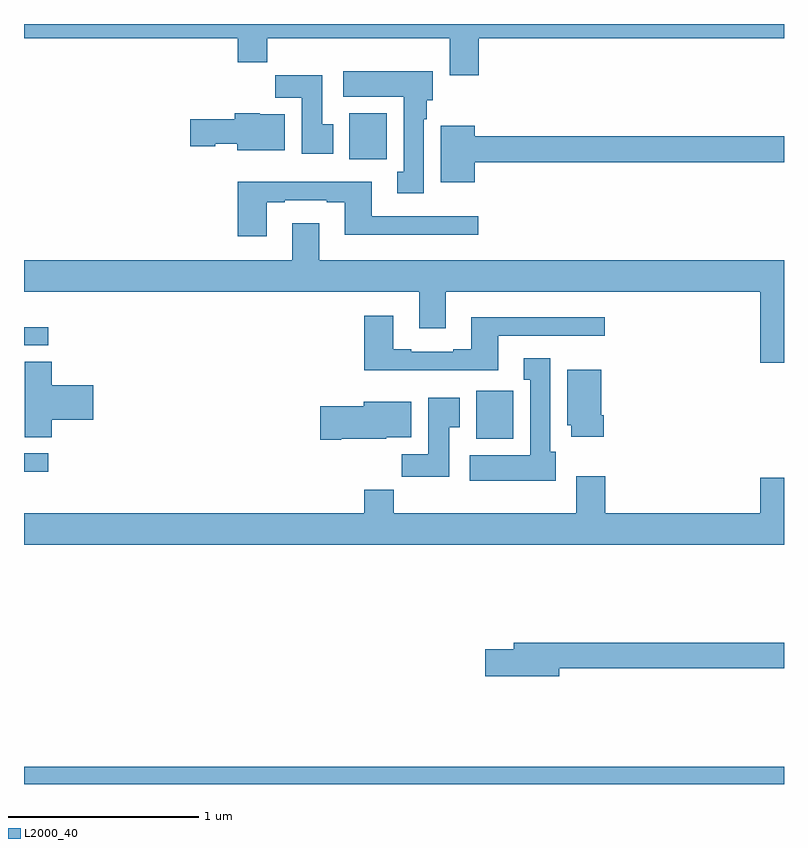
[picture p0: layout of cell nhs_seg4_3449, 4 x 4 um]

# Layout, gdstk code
import gdstk
lib = gdstk.Library(unit=1e-6, precision=1e-09)
def R(c, l, rs):  # rectangles x0, y0, x1, y1
    for r in rs: c.add(gdstk.rectangle(r[:2], r[2:], *l))
def P(c, l, *ps):  # polygons
    for p in ps: c.add(gdstk.Polygon(p, *l))
L2000_40 = (2000, 40)

nhs_seg4_3449 = lib.new_cell('nhs_seg4_3449')
R(nhs_seg4_3449, L2000_40, [(293,788.9,297,788.992), (293,790.543,293.128,790.641), (295.379,790.718,295.575,790.969), (293,791.208,293.128,791.304), (294.713,792.188,294.91,792.43)])
P(nhs_seg4_3449, L2000_40, [(295.394,792.824),(297,792.824),(297,792.9),(293,792.9),(293,792.824),(294.125,792.824),(294.125,792.7),(294.281,792.7),(294.281,792.824),(295.241,792.824),(295.241,792.63),(295.394,792.63)],
  [(295.105,792.398),(295.12,792.398),(295.12,792.498),(295.15,792.498),(295.15,792.652),(294.681,792.652),(294.681,792.518),(294.998,792.518),(294.998,792.122),(294.965,792.122),(294.965,792.009),(295.105,792.009)],
  [(294.628,792.372),(294.571,792.372),(294.571,792.631),(294.322,792.631),(294.322,792.512),(294.461,792.512),(294.461,792.216),(294.628,792.216)],
  [(294.373,792.424),(294.24,792.424),(294.24,792.43),(294.11,792.43),(294.11,792.399),(293.874,792.399),(293.874,792.257),(294.006,792.257),(294.006,792.269),(294.122,792.269),(294.122,792.236),(294.373,792.236)],
  [(295.372,792.172),(297,792.172),(297,792.308),(295.372,792.308),(295.372,792.364),(295.193,792.364),(295.193,792.068),(295.372,792.068)],
  [(294.277,791.961),(294.373,791.961),(294.373,791.973),(294.593,791.973),(294.593,791.961),(294.689,791.961),(294.689,791.792),(295.39,791.792),(295.39,791.889),(294.829,791.889),(294.829,792.07),(294.125,792.07),(294.125,791.784),(294.277,791.784)],
  [(297,791.656),(294.553,791.656),(294.553,791.851),(294.413,791.851),(294.413,791.656),(293,791.656),(293,791.492),(295.079,791.492),(295.079,791.298),(295.219,791.298),(295.219,791.492),(296.876,791.492),(296.876,791.118),(297,791.118)],
  [(295.495,791.259),(296.056,791.259),(296.056,791.356),(295.355,791.356),(295.355,791.188),(295.259,791.188),(295.259,791.175),(295.039,791.175),(295.039,791.188),(294.943,791.188),(294.943,791.365),(294.791,791.365),(294.791,791.078),(295.495,791.078)],
  [(295.798,790.65),(295.771,790.65),(295.771,791.14),(295.631,791.14),(295.631,791.027),(295.664,791.027),(295.664,790.63),(295.347,790.63),(295.347,790.496),(295.798,790.496)],
  [(293.147,790.817),(293.365,790.817),(293.365,791),(293.147,791),(293.147,791.123),(293.003,791.123),(293.003,790.726),(293.147,790.726)],
  [(296.051,790.84),(296.038,790.84),(296.038,791.08),(295.859,791.08),(295.859,790.788),(295.88,790.788),(295.88,790.728),(296.051,790.728)],
  [(295.237,790.777),(295.294,790.777),(295.294,790.933),(295.127,790.933),(295.127,790.636),(294.988,790.636),(294.988,790.518),(295.237,790.518)],
  [(294.67,790.718),(294.906,790.718),(294.906,790.724),(295.039,790.724),(295.039,790.912),(294.788,790.912),(294.788,790.889),(294.558,790.889),(294.558,790.711),(294.67,790.711)],
  [(297,790.513),(296.876,790.513),(296.876,790.324),(296.06,790.324),(296.06,790.519),(295.907,790.519),(295.907,790.324),(294.947,790.324),(294.947,790.448),(294.791,790.448),(294.791,790.324),(293,790.324),(293,790.16),(297,790.16)],
  [(295.816,789.508),(297,789.508),(297,789.644),(295.577,789.644),(295.577,789.608),(295.428,789.608),(295.428,789.466),(295.816,789.466)])

lib.write_gds('nhs_seg4_3449.gds')
